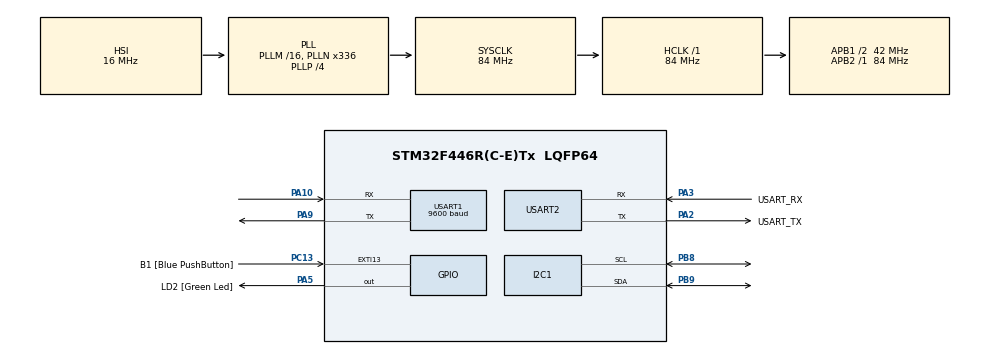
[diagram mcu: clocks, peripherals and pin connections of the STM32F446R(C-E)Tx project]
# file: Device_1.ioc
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Mcu.Family=STM32F4
Mcu.Name=STM32F446R(C-E)Tx
Mcu.Package=LQFP64
NVIC.I2C1_ER_IRQn=true\:0\:0\:false\:false\:true\:true\:true
NVIC.I2C1_EV_IRQn=true\:0\:0\:false\:false\:true\:true\:true
NVIC.PriorityGroup=NVIC_PRIORITYGROUP_0
NVIC.TIM2_IRQn=true\:0\:0\:false\:false\:true\:true\:true
NVIC.TIM3_IRQn=true\:0\:0\:false\:false\:true\:true\:true
NVIC.USART1_IRQn=true\:0\:0\:false\:false\:true\:true\:true
NVIC.USART2_IRQn=true\:0\:0\:false\:false\:true\:true\:true
PA10.Mode=Asynchronous
PA10.Signal=USART1_RX
PA13.GPIO_Label=TMS
PA13.Mode=Serial_Wire
PA13.Signal=SYS_JTMS-SWDIO
PA14.GPIO_Label=TCK
PA14.Mode=Serial_Wire
PA14.Signal=SYS_JTCK-SWCLK
PA2.GPIO_Label=USART_TX
PA2.Mode=Asynchronous
PA2.Signal=USART2_TX
PA3.GPIO_Label=USART_RX
PA3.Mode=Asynchronous
PA3.Signal=USART2_RX
PA5.GPIO_Label=LD2 [Green Led]
PA5.Signal=GPIO_Output
PA9.Mode=Asynchronous
PA9.Signal=USART1_TX
PB3.GPIO_Label=SWO
PB3.Signal=SYS_JTDO-SWO
PB8.Mode=I2C
PB8.Signal=I2C1_SCL
PB9.Mode=I2C
PB9.Signal=I2C1_SDA
PC13.GPIO_Label=B1 [Blue PushButton]
PC13.GPIO_ModeDefaultEXTI=GPIO_MODE_IT_FALLING
PC13.Signal=GPXTI13
PC14-OSC32_IN.Mode=LSE-External-Oscillator
PC14-OSC32_IN.Signal=RCC_OSC32_IN
PC15-OSC32_OUT.Mode=LSE-External-Oscillator
PC15-OSC32_OUT.Signal=RCC_OSC32_OUT
PH0-OSC_IN.Mode=HSE-External-Oscillator
PH0-OSC_IN.Signal=RCC_OSC_IN
PH1-OSC_OUT.Mode=HSE-External-Oscillator
PH1-OSC_OUT.Signal=RCC_OSC_OUT
ProjectManager.HeapSize=0x200
ProjectManager.StackSize=0x400
ProjectManager.TargetToolchain=STM32CubeIDE
RCC.48MHZClocksFreq_Value=84000000
RCC.AHBFreq_Value=84000000
RCC.APB1CLKDivider=RCC_HCLK_DIV2
RCC.APB1Freq_Value=42000000
RCC.APB1TimFreq_Value=84000000
RCC.APB2Freq_Value=84000000
RCC.APB2TimFreq_Value=84000000
RCC.CortexFreq_Value=84000000
RCC.FLatency-AdvancedSettings=FLASH_LATENCY_2
RCC.HCLKFreq_Value=84000000
RCC.HSE_VALUE=8000000
RCC.HSI_VALUE=16000000
RCC.PLLN=336
RCC.PLLP=RCC_PLLP_DIV4
RCC.RCC_RTC_Clock_SourceVirtual=RCC_RTCCLKSOURCE_LSE
RCC.SYSCLKFreq_VALUE=84000000
RCC.SYSCLKSource=RCC_SYSCLKSOURCE_PLLCLK
RCC.USBFreq_Value=168000000
RCC.VCOOutputFreq_Value=336000000
RTC.Format=RTC_FORMAT_BIN
TIM2.Period=249999
TIM2.Prescaler=83
TIM3.Period=9999
TIM3.Prescaler=8399
USART1.BaudRate=9600
USART1.VirtualMode=VM_ASYNC
USART2.VirtualMode=VM_ASYNC
VP_RTC_VS_RTC_Activate.Mode=RTC_Enabled
VP_RTC_VS_RTC_Calendar.Mode=RTC_Calendar
VP_TIM2_VS_ClockSourceINT.Mode=Internal
VP_TIM3_VS_ClockSourceINT.Mode=Internal
board=NUCLEO-F446RE

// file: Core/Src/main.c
/* USER CODE BEGIN Header */
/**
  ******************************************************************************
  * @file           : main.c
  * @brief          : Main program body
  ******************************************************************************
  * @attention
  *
  * <h2><center>&copy; Copyright (c) 2021 STMicroelectronics.
  * All rights reserved.</center></h2>
  *
  * This software component is licensed by ST under BSD 3-Clause license,
  * the "License"; You may not use this file except in compliance with the
  * License. You may obtain a copy of the License at:
  *                        opensource.org/licenses/BSD-3-Clause
  *
  ******************************************************************************
  */
/* USER CODE END Header */
#include "main.h"

I2C_HandleTypeDef hi2c1;

RTC_HandleTypeDef hrtc;

TIM_HandleTypeDef htim2;
TIM_HandleTypeDef htim3;

UART_HandleTypeDef huart1;
UART_HandleTypeDef huart2;

/* USER CODE BEGIN PV */
uint8_t sw[1] = "0";
uint8_t buf[6];
uint8_t buf_GPS[1020]={0};
RTC_TimeTypeDef sTime = {0};
RTC_DateTypeDef sDate = {0};
//char trans_str[] = {0};
//uint8_t buf_GPS2[255]={0};
//uint8_t mes_hum[] = "Enter 1 to get humidity data\r\n";
//uint8_t mes_temp[] = "Enter 2 to get temperature data\r\n";
//uint8_t mes_en_heat[] = "Enter 3 to Enable Heater\r\n";
//uint8_t mes_dis_heat[] = "Enter 4 to Disable Heater\r\n";
//uint8_t mes_gps[] = "Enter 5 to Get GPS Data\r\n\n";
//uint8_t Err = 0;
//uint8_t check[6];
float hum;
float temp;
HAL_StatusTypeDef ret;
/* USER CODE END PV */

void SystemClock_Config(void);
static void MX_GPIO_Init(void);
static void MX_USART2_UART_Init(void);
static void MX_I2C1_Init(void);
static void MX_TIM2_Init(void);
static void MX_USART1_UART_Init(void);
static void MX_TIM3_Init(void);
static void MX_RTC_Init(void);
/* USER CODE BEGIN PFP */
uint8_t con_test ();
/* USER CODE END PFP */

/* USER CODE BEGIN 0 */

//Connection Test Function
void HAL_UART_RxCpltCallback(UART_HandleTypeDef *huart)
{
	  HAL_UART_Receive_IT(&huart2, sw, 1);
	  if(sw[0]=='1')
	  		  {
	  	  	  		  //Temperature and Humidity Receive
		  	  	  	  sw[0] = '0';
	  	  	  		  buf[0] = (uint8_t)(READ_TEMP_REG >> 8);
	  	  	  		  buf[1] = (uint8_t)READ_TEMP_REG;
	  	  	  		  ret = HAL_I2C_Master_Transmit(&hi2c1, SHT_ADDR, buf, 2, 100);
	  	  	  		  if (ret != HAL_OK)
	  	  	  		  {
			  			  printf("Sensor connection ERROR\r\n\n");
	  	  	  		  }
	  	  	  		  else
	  	  	  		  {
	  	  	  			  HAL_I2C_Master_Receive(&hi2c1, SHT_ADDR, buf, 6, 100);

	  	  	  			  hum = humidity(buf);

	  	  	  		  printf("Humidity is %.2f %%\r\n", hum);
	  	  	  		  printf("Enter 1 to get humidity data\r\n");
	  	  	  		  printf("Enter 2 to get temperature data\r\n");
	  	  	  		  printf("Enter 3 to Enable Heater\r\n");
	  	  	  		  printf("Enter 4 to Disable Heater\r\n");
	  	  	  		  printf("Enter 5 to Get GPS Data\r\n\n");
	  	  	  		  }
	  		  }

	  if(sw[0]=='2')
	  		  {
	  	  	          sw[0] = '0';
	  	  	  		  //Temperature and Humidity Receive
	  	  	  		  buf[0] = (uint8_t)(READ_TEMP_REG >> 8);
	  	  	  		  buf[1] = (uint8_t)READ_TEMP_REG;
	  	  	  		  ret = HAL_I2C_Master_Transmit(&hi2c1, SHT_ADDR, buf, 2, 100);
	  	  	  		  if (ret != HAL_OK)
	  	  	  		  {
			  			  printf("Sensor connection ERROR\r\n\n");
	  	  	  		  }
	  	  	  		  else
	  	  	  		  {
	  	  	  			  HAL_I2C_Master_Receive(&hi2c1, SHT_ADDR, buf, 6, 100);

	  	  	  			  temp = temperature(buf);

	  	  	  		  printf("Temperature is %.2f C\r\n", temp);
	  	  	  		  printf("Enter 1 to get humidity data\r\n");
	  	  	  		  printf("Enter 2 to get temperature data\r\n");
	  	  	  		  printf("Enter 3 to Enable Heater\r\n");
	  	  	  		  printf("Enter 4 to Disable Heater\r\n");
	  	  	  		  printf("Enter 5 to Get GPS Data\r\n\n");
	  	  	  		  }
	  		  }
	  if(sw[0]=='3')
	  		  {
	          	  	  sw[0] = '0';
	  	  	  		  //Heater Enable
	  	  	  		  buf[0] = (uint8_t)(HEATER_EN_REG >> 8);
	  	  	  		  buf[1] = (uint8_t)HEATER_EN_REG;
	  	  	  		  ret = HAL_I2C_Master_Transmit(&hi2c1, SHT_ADDR, buf, 2, 100);
	  	  	  		  if (ret != HAL_OK)
	  	  	  		  {
			  			  printf("Sensor connection ERROR\r\n\n");
	  	  	  		  }
	  	  	  		  else
	  	  	  		  {
	  	  	  		  printf("The Heater is Enabled\r\n");
	  	  	  		  printf("Enter 1 to get humidity data\r\n");
	  	  	  		  printf("Enter 2 to get temperature data\r\n");
	  	  	  		  printf("Enter 3 to Enable Heater\r\n");
	  	  	  		  printf("Enter 4 to Disable Heater\r\n");
	  	  	  		  printf("Enter 5 to Get GPS Data\r\n\n");
	  	  	  		  }
	  		  }
	  if(sw[0]=='4')
	  		  {
		  	  	  	  sw[0] = '0';
	  	  	  		  //Heater Enable
	  	  	  		  buf[0] = (uint8_t)(HEATER_DIS_REG >> 8);
	  	  	  		  buf[1] = (uint8_t)HEATER_DIS_REG;
	  	  	  		  ret = HAL_I2C_Master_Transmit(&hi2c1, SHT_ADDR, buf, 2, 100);
	  	  	  		  if (ret != HAL_OK)
	  	  	  		  {
			  			  printf("Sensor connection ERROR\r\n\n");
	  	  	  		  }
	  	  	  		  else
	  	  	  		  {
	  	  	  		  printf("The Heater is Disabled\r\n");
	  	  	  		  printf("Enter 1 to get humidity data\r\n");
	  	  	  		  printf("Enter 2 to get temperature data\r\n");
	  	  	  		  printf("Enter 3 to Enable Heater\r\n");
	  	  	  		  printf("Enter 4 to Disable Heater\r\n");
	  	  	  		  printf("Enter 5 to Get GPS Data\r\n\n");

	  	  	  		  }
	  		  }
	  if(sw[0]=='5')
	  		  {
	  	  	  	  	  sw[0] = '0';
	  	  	  		//Get GPS data
	  	  	  	  	  //HAL_UART_Receive(&huart1, buf_GPS, 255, 1000);
	  	  	  	  	  HAL_UART_Receive(&huart1, buf_GPS, 1020, HAL_MAX_DELAY);
		  	  	  	  printf("The GPS Data is\r\n");
		  	  	  	  //printf("%s\r\n", buf_GPS);
		  	  	      HAL_UART_Transmit(&huart2, buf_GPS, 1020, HAL_MAX_DELAY);
		  	  	     // printf("\r\n");
  	  	  			  //printf("The Heater is Disabled\r\n");
	  	  	  		  printf("\r\nEnter 1 to get humidity data\r\n");
	  	  	  		  printf("Enter 2 to get temperature data\r\n");
	  	  	  		  printf("Enter 3 to Enable Heater\r\n");
	  	  	  		  printf("Enter 4 to Disable Heater\r\n");
	  	  	  		  printf("Enter 5 to Get GPS Data\r\n\n");
	  	  	  		  //HAL_RTC_GetTime(&hrtc, &sTime, RTC_FORMAT_BIN);
	  	  	  		 // printf("Time %d:%d:%d\n\r", sTime.Hours, sTime.Minutes, sTime.Seconds);
	  		  }
		  else
		  {
		    __NOP();
		  }
}

//Function for printf
int _write(int file, char *ptr, int len)
{
	HAL_UART_Transmit(&huart2, (uint8_t*)ptr, len, 1000);
	return len;
}

/* USER CODE END 0 */

int main(void)
{

  /* MCU Configuration--------------------------------------------------------*/

  /* Reset of all peripherals, Initializes the Flash interface and the Systick. */
  HAL_Init();

  /* Configure the system clock */
  SystemClock_Config();

  /* Initialize all configured peripherals */
  MX_GPIO_Init();
  MX_USART2_UART_Init();
  MX_I2C1_Init();
  MX_TIM2_Init();
  MX_USART1_UART_Init();
  MX_TIM3_Init();
  MX_RTC_Init();
  /* USER CODE BEGIN 2 */
 //TIM2 Start
  HAL_TIM_Base_Start_IT(&htim2);
  HAL_TIM_Base_Start_IT(&htim3);
  //Get Status;
  buf[0] = (uint8_t)(SHT_STAT_REG >> 8);
  buf[1] = (uint8_t)SHT_STAT_REG;
  //ret = HAL_I2C_Master_Transmit(&hi2c1, SHT_ADDR, buf, 2, 100);
  //if (ret != HAL_OK)
  //{
	//  printf("Sensor connection ERROR\r\n\n");
  //}
  //else
  //{
	  HAL_I2C_Master_Receive(&hi2c1, SHT_ADDR, buf, 3, 100);
	  //Err = con_test();

  //Start Measurement command
	  buf[0] = (uint8_t)(MES_CMD_REG >> 8);
	  buf[1] = (uint8_t)MES_CMD_REG;
	  HAL_I2C_Master_Transmit(&hi2c1, SHT_ADDR, buf, 2, 100);

	  printf("Enter 1 to get humidity data\r\n");
	  printf("Enter 2 to get temperature data\r\n");
	  printf("Enter 3 to Enable Heater\r\n");
	  printf("Enter 4 to Disable Heater\r\n");
	  printf("Enter 5 to Get GPS Data\r\n\n");
	  //HAL_UART_Transmit(&huart2, mes_hum, sizeof(mes_hum),100);
	  //HAL_UART_Transmit(&huart2, mes_temp, sizeof(mes_temp),100);
	  //HAL_UART_Transmit(&huart2, mes_en_heat, sizeof(mes_en_heat),100);
	  //HAL_UART_Transmit(&huart2, mes_dis_heat, sizeof(mes_dis_heat),100);
	  //HAL_UART_Transmit(&huart2, mes_gps, sizeof(mes_gps),100);

	  //Uart Receive command
	  HAL_UART_Receive_IT(&huart2, sw, 1);
//  }
  /* USER CODE END 2 */

  /* Infinite loop */
  /* USER CODE BEGIN WHILE */
  while (1)
  {
	  //HAL_UART_Receive(&huart1, buf_GPS, 1020, HAL_MAX_DELAY);
	  //for (int i=0; i<255; i++)
	  //{
		// buf_GPS2[i] = buf_GPS[i];
	  //}
    /* USER CODE END WHILE */

    /* USER CODE BEGIN 3 */
	  //HAL_Delay(250);
	  //HAL_GPIO_TogglePin(LD2_GPIO_Port, LD2_Pin);

	  //Temperature and Humidity Receive
	  /*
	  buf[0] = (uint8_t)(READ_TEMP_REG >> 8);
	  buf[1] = (uint8_t)READ_TEMP_REG;
	  HAL_I2C_Master_Transmit(&hi2c1, SHT_ADDR, buf, 2, 100);
	  HAL_I2C_Master_Receive(&hi2c1, SHT_ADDR, buf, 6, 100);

	  temp = temperature(buf);
	  hum = humidity(buf);
	*/
	  //printf("Humidity is %.2f %\r\n", hum);
	  //printf("Temperature is %.2f C\r\n", temp);
  }
  /* USER CODE END 3 */
}

void SystemClock_Config(void)
{
  RCC_OscInitTypeDef RCC_OscInitStruct = {0};
  RCC_ClkInitTypeDef RCC_ClkInitStruct = {0};

  /** Configure the main internal regulator output voltage
  */
  __HAL_RCC_PWR_CLK_ENABLE();
  __HAL_PWR_VOLTAGESCALING_CONFIG(PWR_REGULATOR_VOLTAGE_SCALE3);
  /** Initializes the RCC Oscillators according to the specified parameters
  * in the RCC_OscInitTypeDef structure.
  */
  RCC_OscInitStruct.OscillatorType = RCC_OSCILLATORTYPE_HSI|RCC_OSCILLATORTYPE_LSE;
  RCC_OscInitStruct.LSEState = RCC_LSE_ON;
  RCC_OscInitStruct.HSIState = RCC_HSI_ON;
  RCC_OscInitStruct.HSICalibrationValue = RCC_HSICALIBRATION_DEFAULT;
  RCC_OscInitStruct.PLL.PLLState = RCC_PLL_ON;
  RCC_OscInitStruct.PLL.PLLSource = RCC_PLLSOURCE_HSI;
  RCC_OscInitStruct.PLL.PLLM = 16;
  RCC_OscInitStruct.PLL.PLLN = 336;
  RCC_OscInitStruct.PLL.PLLP = RCC_PLLP_DIV4;
  RCC_OscInitStruct.PLL.PLLQ = 2;
  RCC_OscInitStruct.PLL.PLLR = 2;
  if (HAL_RCC_OscConfig(&RCC_OscInitStruct) != HAL_OK)
  {
    Error_Handler();
  }
  /** Initializes the CPU, AHB and APB buses clocks
  */
  RCC_ClkInitStruct.ClockType = RCC_CLOCKTYPE_HCLK|RCC_CLOCKTYPE_SYSCLK
                              |RCC_CLOCKTYPE_PCLK1|RCC_CLOCKTYPE_PCLK2;
  RCC_ClkInitStruct.SYSCLKSource = RCC_SYSCLKSOURCE_PLLCLK;
  RCC_ClkInitStruct.AHBCLKDivider = RCC_SYSCLK_DIV1;
  RCC_ClkInitStruct.APB1CLKDivider = RCC_HCLK_DIV2;
  RCC_ClkInitStruct.APB2CLKDivider = RCC_HCLK_DIV1;

  if (HAL_RCC_ClockConfig(&RCC_ClkInitStruct, FLASH_LATENCY_2) != HAL_OK)
  {
    Error_Handler();
  }
}

static void MX_I2C1_Init(void)
{

  hi2c1.Instance = I2C1;
  hi2c1.Init.ClockSpeed = 100000;
  hi2c1.Init.DutyCycle = I2C_DUTYCYCLE_2;
  hi2c1.Init.OwnAddress1 = 0;
  hi2c1.Init.AddressingMode = I2C_ADDRESSINGMODE_7BIT;
  hi2c1.Init.DualAddressMode = I2C_DUALADDRESS_DISABLE;
  hi2c1.Init.OwnAddress2 = 0;
  hi2c1.Init.GeneralCallMode = I2C_GENERALCALL_DISABLE;
  hi2c1.Init.NoStretchMode = I2C_NOSTRETCH_DISABLE;
  if (HAL_I2C_Init(&hi2c1) != HAL_OK)
  {
    Error_Handler();
  }

}

static void MX_RTC_Init(void)
{

  RTC_TimeTypeDef sTime = {0};
  RTC_DateTypeDef sDate = {0};

  /** Initialize RTC Only
  */
  hrtc.Instance = RTC;
  hrtc.Init.HourFormat = RTC_HOURFORMAT_24;
  hrtc.Init.AsynchPrediv = 127;
  hrtc.Init.SynchPrediv = 255;
  hrtc.Init.OutPut = RTC_OUTPUT_DISABLE;
  hrtc.Init.OutPutPolarity = RTC_OUTPUT_POLARITY_HIGH;
  hrtc.Init.OutPutType = RTC_OUTPUT_TYPE_OPENDRAIN;
  if (HAL_RTC_Init(&hrtc) != HAL_OK)
  {
    Error_Handler();
  }

  /** Initialize RTC and set the Time and Date
  */
  sTime.Hours = 0;
  sTime.Minutes = 0;
  sTime.Seconds = 0;
  sTime.DayLightSaving = RTC_DAYLIGHTSAVING_NONE;
  sTime.StoreOperation = RTC_STOREOPERATION_RESET;
  if (HAL_RTC_SetTime(&hrtc, &sTime, RTC_FORMAT_BIN) != HAL_OK)
  {
    Error_Handler();
  }
  sDate.WeekDay = RTC_WEEKDAY_MONDAY;
  sDate.Month = RTC_MONTH_JANUARY;
  sDate.Date = 1;
  sDate.Year = 0;

  if (HAL_RTC_SetDate(&hrtc, &sDate, RTC_FORMAT_BIN) != HAL_OK)
  {
    Error_Handler();
  }

}

static void MX_TIM2_Init(void)
{

  TIM_ClockConfigTypeDef sClockSourceConfig = {0};
  TIM_MasterConfigTypeDef sMasterConfig = {0};

  htim2.Instance = TIM2;
  htim2.Init.Prescaler = 83;
  htim2.Init.CounterMode = TIM_COUNTERMODE_UP;
  htim2.Init.Period = 249999;
  htim2.Init.ClockDivision = TIM_CLOCKDIVISION_DIV1;
  htim2.Init.AutoReloadPreload = TIM_AUTORELOAD_PRELOAD_DISABLE;
  if (HAL_TIM_Base_Init(&htim2) != HAL_OK)
  {
    Error_Handler();
  }
  sClockSourceConfig.ClockSource = TIM_CLOCKSOURCE_INTERNAL;
  if (HAL_TIM_ConfigClockSource(&htim2, &sClockSourceConfig) != HAL_OK)
  {
    Error_Handler();
  }
  sMasterConfig.MasterOutputTrigger = TIM_TRGO_RESET;
  sMasterConfig.MasterSlaveMode = TIM_MASTERSLAVEMODE_DISABLE;
  if (HAL_TIMEx_MasterConfigSynchronization(&htim2, &sMasterConfig) != HAL_OK)
  {
    Error_Handler();
  }

}

static void MX_TIM3_Init(void)
{

  TIM_ClockConfigTypeDef sClockSourceConfig = {0};
  TIM_MasterConfigTypeDef sMasterConfig = {0};

  htim3.Instance = TIM3;
  htim3.Init.Prescaler = 8399;
  htim3.Init.CounterMode = TIM_COUNTERMODE_UP;
  htim3.Init.Period = 9999;
  htim3.Init.ClockDivision = TIM_CLOCKDIVISION_DIV1;
  htim3.Init.AutoReloadPreload = TIM_AUTORELOAD_PRELOAD_DISABLE;
  if (HAL_TIM_Base_Init(&htim3) != HAL_OK)
  {
    Error_Handler();
  }
  sClockSourceConfig.ClockSource = TIM_CLOCKSOURCE_INTERNAL;
  if (HAL_TIM_ConfigClockSource(&htim3, &sClockSourceConfig) != HAL_OK)
  {
    Error_Handler();
  }
  sMasterConfig.MasterOutputTrigger = TIM_TRGO_RESET;
  sMasterConfig.MasterSlaveMode = TIM_MASTERSLAVEMODE_DISABLE;
  if (HAL_TIMEx_MasterConfigSynchronization(&htim3, &sMasterConfig) != HAL_OK)
  {
    Error_Handler();
  }

}

static void MX_USART1_UART_Init(void)
{

  huart1.Instance = USART1;
  huart1.Init.BaudRate = 9600;
  huart1.Init.WordLength = UART_WORDLENGTH_8B;
  huart1.Init.StopBits = UART_STOPBITS_1;
  huart1.Init.Parity = UART_PARITY_NONE;
  huart1.Init.Mode = UART_MODE_TX_RX;
  huart1.Init.HwFlowCtl = UART_HWCONTROL_NONE;
  huart1.Init.OverSampling = UART_OVERSAMPLING_16;
  if (HAL_UART_Init(&huart1) != HAL_OK)
  {
    Error_Handler();
  }

}

static void MX_USART2_UART_Init(void)
{

  huart2.Instance = USART2;
  huart2.Init.BaudRate = 115200;
  huart2.Init.WordLength = UART_WORDLENGTH_8B;
  huart2.Init.StopBits = UART_STOPBITS_1;
  huart2.Init.Parity = UART_PARITY_NONE;
  huart2.Init.Mode = UART_MODE_TX_RX;
  huart2.Init.HwFlowCtl = UART_HWCONTROL_NONE;
  huart2.Init.OverSampling = UART_OVERSAMPLING_16;
  if (HAL_UART_Init(&huart2) != HAL_OK)
  {
    Error_Handler();
  }

}

static void MX_GPIO_Init(void)
{
  GPIO_InitTypeDef GPIO_InitStruct = {0};

  /* GPIO Ports Clock Enable */
  __HAL_RCC_GPIOC_CLK_ENABLE();
  __HAL_RCC_GPIOH_CLK_ENABLE();
  __HAL_RCC_GPIOA_CLK_ENABLE();
  __HAL_RCC_GPIOB_CLK_ENABLE();

  /*Configure GPIO pin Output Level */
  HAL_GPIO_WritePin(LD2_GPIO_Port, LD2_Pin, GPIO_PIN_RESET);

  /*Configure GPIO pin : B1_Pin */
  GPIO_InitStruct.Pin = B1_Pin;
  GPIO_InitStruct.Mode = GPIO_MODE_IT_FALLING;
  GPIO_InitStruct.Pull = GPIO_NOPULL;
  HAL_GPIO_Init(B1_GPIO_Port, &GPIO_InitStruct);

  /*Configure GPIO pin : LD2_Pin */
  GPIO_InitStruct.Pin = LD2_Pin;
  GPIO_InitStruct.Mode = GPIO_MODE_OUTPUT_PP;
  GPIO_InitStruct.Pull = GPIO_NOPULL;
  GPIO_InitStruct.Speed = GPIO_SPEED_FREQ_LOW;
  HAL_GPIO_Init(LD2_GPIO_Port, &GPIO_InitStruct);

}

/* USER CODE BEGIN 4 */
void HAL_TIM_PeriodElapsedCallback(TIM_HandleTypeDef *htim)
{
	if (htim->Instance == TIM2) //If the source is TIM2
	{
		  HAL_GPIO_TogglePin(LD2_GPIO_Port, LD2_Pin);
	}
	if (htim->Instance == TIM3) //If the source is TIM2
	{
		//HAL_UART_Receive(&huart1, buf_GPS, 255, 1000);
		//HAL_RTC_GetTime(&hrtc, &sTime, RTC_FORMAT_BIN);
	}
}

/* USER CODE END 4 */

void Error_Handler(void)
{
  __disable_irq();
  while (1)
  {
  }
}

/************************ (C) COPYRIGHT STMicroelectronics *****END OF FILE****/
